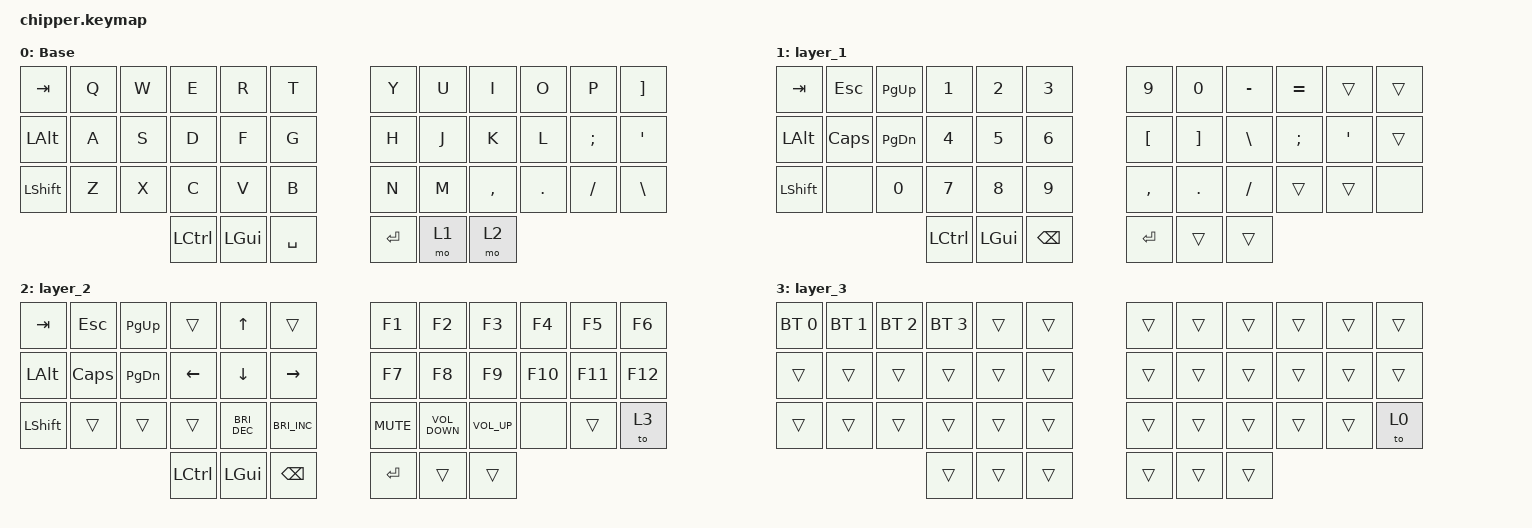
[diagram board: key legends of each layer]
// This file was generated from a template. Edit it to match your keyboard.
// See https://zmk.dev/docs/development/hardware-integration/new-shield for more instructions.

#include <behaviors.dtsi>
#include <dt-bindings/zmk/bt.h>
#include <dt-bindings/zmk/keys.h>

#define COMBO_TIMEOUT 60
#define DEFAULT 0
#define LOWER   1
#define RAISE   2
#define DANGER  3

/ {
    macros {
        hello: hello {
            label = "hello";
            compatible = "zmk,behavior-macro";
            #binding-cells = <0>;
            bindings =
                <&macro_tap_time 10>,
                <&macro_tap>,
                <&kp H &kp E &kp L &kp L &kp O>;
        };
    };
};

/ {
    combos {
        compatible = "zmk,combos";

        combo_del {
            timeout-ms = <COMBO_TIMEOUT>;
            key-positions = <11 12 13>;
            bindings = <&mt RALT DEL>;
        };

        combo_cw {
            timeout-ms = <COMBO_TIMEOUT>;
            key-positions = <2 3 4>;
            bindings = <&caps_word>;
        };

        combo_tab {
            timeout-ms = <COMBO_TIMEOUT>;
            key-positions = <10 11 12>;
            bindings = <&mt K_CONTEXT_MENU TAB>;
        };

        combo_row {
            timeout-ms = <COMBO_TIMEOUT>;
            key-positions = <12 13 14>;
            bindings = <&kp LS(HOME)>;
        };

        combo_esc {
            timeout-ms = <COMBO_TIMEOUT>;
            key-positions = <0 1 2>;
            bindings = <&kp ESC>;
        };

        combo_ctlbksp {
            timeout-ms = <COMBO_TIMEOUT>;
            key-positions = <6 7 8>;
            bindings = <&kp LC(BSPC)>;
        };

        combo_bksp {
            timeout-ms = <COMBO_TIMEOUT>;
            key-positions = <16 17 18>;
            bindings = <&kp BSPC>;
        };
    };
};

&caps_word { continue-list = <UNDERSCORE MINUS BACKSPACE DELETE HOME END LEFT RIGHT>; };

&kscan0 { debounce-period = <20>; };

/ {
    behaviors {
        bh: layer_taps {
            compatible = "zmk,behavior-hold-tap";
            label = "Layer-Tap";
            #binding-cells = <2>;
            tapping_term_ms = <215>;
            flavor = "tap-preferred";
            bindings = <&mo>, <&kp>;
        };

        hm: homerow_mods {
            compatible = "zmk,behavior-hold-tap";
            label = "HOMEROW_MODS";
            #binding-cells = <2>;
            tapping-term-ms = <170>;
            quick_tap_ms = <0>;
            flavor = "tap-preferred";
            bindings = <&kp>, <&kp>;
        };

        sm: shift_mods {
            compatible = "zmk,behavior-hold-tap";
            label = "SHIFT_MODS";
            #binding-cells = <2>;
            tapping-term-ms = <170>;
            quick_tap_ms = <0>;
            flavor = "hold-preferred";
            bindings = <&kp>, <&kp>;
        };
    };
};

/ {
    keymap {
        compatible = "zmk,keymap";

        Base {
            bindings = <
&kp TAB       &kp Q  &kp W  &kp E      &kp R     &kp T        &kp Y    &kp U  &kp I      &kp O    &kp P     &kp RBKT
&kp LEFT_ALT  &kp A  &kp S  &kp D      &kp F     &kp G        &kp H    &kp J  &kp K      &kp L    &kp SEMI  &kp SQT
&kp LSHFT     &kp Z  &kp X  &kp C      &kp V     &kp B        &kp N    &kp M  &kp COMMA  &kp DOT  &kp FSLH  &kp BSLH
                            &kp LCTRL  &kp LGUI  &kp SPACE    &kp RET  &mo 1  &mo 2
            >;
        };

        layer_1 {
            bindings = <
&kp TAB    &kp ESC   &kp PAGE_UP    &kp N1            &kp N2    &kp N3      &kp N9     &kp N0    &kp MINUS  &kp EQUAL  &trans   &trans
&kp LALT   &kp CAPS  &kp PAGE_DOWN  &kp N4            &kp N5    &kp N6      &kp LBKT   &kp RBKT  &kp BSLH   &kp SEMI   &kp SQT  &trans
&kp LSHFT  &none     &kp N0         &kp N7            &kp N8    &kp N9      &kp COMMA  &kp DOT   &kp FSLH   &trans     &trans   &none
                                    &kp LEFT_CONTROL  &kp LGUI  &kp BSPC    &kp RET    &trans    &trans
            >;
        };

        layer_2 {
            bindings = <
&kp TAB    &kp ESC   &kp PAGE_UP    &trans     &kp UP                &trans                  &kp F1      &kp F2             &kp F3           &kp F4   &kp F5   &kp F6
&kp LALT   &kp CAPS  &kp PAGE_DOWN  &kp LEFT   &kp DOWN              &kp RIGHT               &kp F7      &kp F8             &kp F9           &kp F10  &kp F11  &kp F12
&kp LSHFT  &trans    &trans         &trans     &kp C_BRIGHTNESS_DEC  &kp C_BRIGHTNESS_INC    &kp K_MUTE  &kp K_VOLUME_DOWN  &kp K_VOLUME_UP  &none    &trans   &to 3
                                    &kp LCTRL  &kp LGUI              &kp BSPC                &kp ENTER   &trans             &trans
            >;
        };

        layer_3 {
            bindings = <
&bt BT_SEL 0  &bt BT_SEL 1  &bt BT_SEL 2  &bt BT_SEL 3  &trans  &trans    &trans  &trans  &trans  &trans  &trans  &trans
&trans        &trans        &trans        &trans        &trans  &trans    &trans  &trans  &trans  &trans  &trans  &trans
&trans        &trans        &trans        &trans        &trans  &trans    &trans  &trans  &trans  &trans  &trans  &to 0
                                          &trans        &trans  &trans    &trans  &trans  &trans
            >;
        };
    };
};
